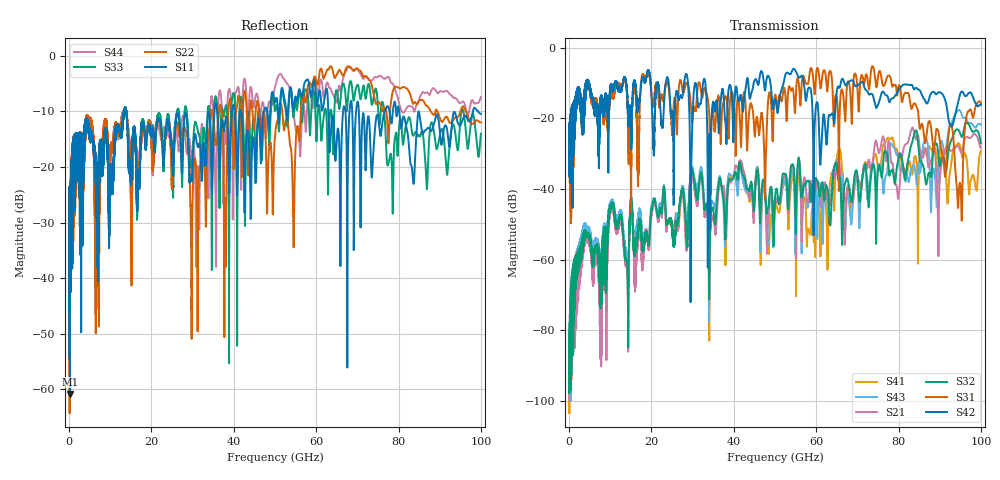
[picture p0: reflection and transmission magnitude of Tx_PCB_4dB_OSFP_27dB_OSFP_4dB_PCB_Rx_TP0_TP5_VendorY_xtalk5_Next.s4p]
! Info: Touchstone file created by Circ.  Input file=Tx_PCB_4dB_OSFP_27dB_OSFP_4dB_PCB_Rx_TP0_TP5_VendorY.circ
# Hz S RI R 50
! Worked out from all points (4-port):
!   10000 points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, 10 MHz to 100 GHz, reference 50 ohm
!   strongest paths, dB at 10 MHz, 25.01 GHz, 50.01 GHz, 75.01 GHz, 100 GHz:
!     S42: -23.5, -18.6, -14.5, -16.2, -16.2
!     S31: -23.4, -23.8, -13.3, -8.3, -15.6
!     S32: -90.1, -51.2, -42.6, -34.6, -27.0
!     S21: -86.2, -50.2, -44.1, -29.1, -28.4
!     S43: -91.3, -50.9, -45.1, -33.5, -21.8
!     S41: -91.7, -50.3, -43.0, -34.1, -29.3
!   lowest |S11| = -60.8 dB at 200 MHz (marker M1), VSWR 1.00, Z = 50.1 - j0.0731 ohm
!   |S11| at or under -10 dB: start of sweep to 13.35 GHz; 13.88 GHz to 35.3 GHz (21.41 GHz wide, 87.1 % of centre); 80.18 GHz to 98.05 GHz (17.87 GHz wide, 20.1 % of centre) (the widest 3 of 22)
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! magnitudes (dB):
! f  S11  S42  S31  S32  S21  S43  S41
! 10 MHz  -23.7  -23.5  -23.4  -90.1  -86.2  -91.3  -91.7
! 200 MHz  -60.8  -25.8  -26.6  -94.3  -88.1  -90.9  -92.7
! 10.33 GHz  -20.6  -10.4  -12.5  -44.0  -45.1  -43.1  -44.2
! 47.56 GHz  -9.6  -12.1  -40.5  -40.0  -40.4  -41.0  -40.5
! 73.73 GHz  -19.5  -13.4  -5.2  -33.2  -32.3  -32.5  -32.7
! 94.92 GHz  -12.6  -13.2  -38.2  -24.2  -29.0  -17.8  -27.7
! 100 GHz  -10.5  -16.2  -15.6  -27.0  -28.4  -21.8  -29.3
